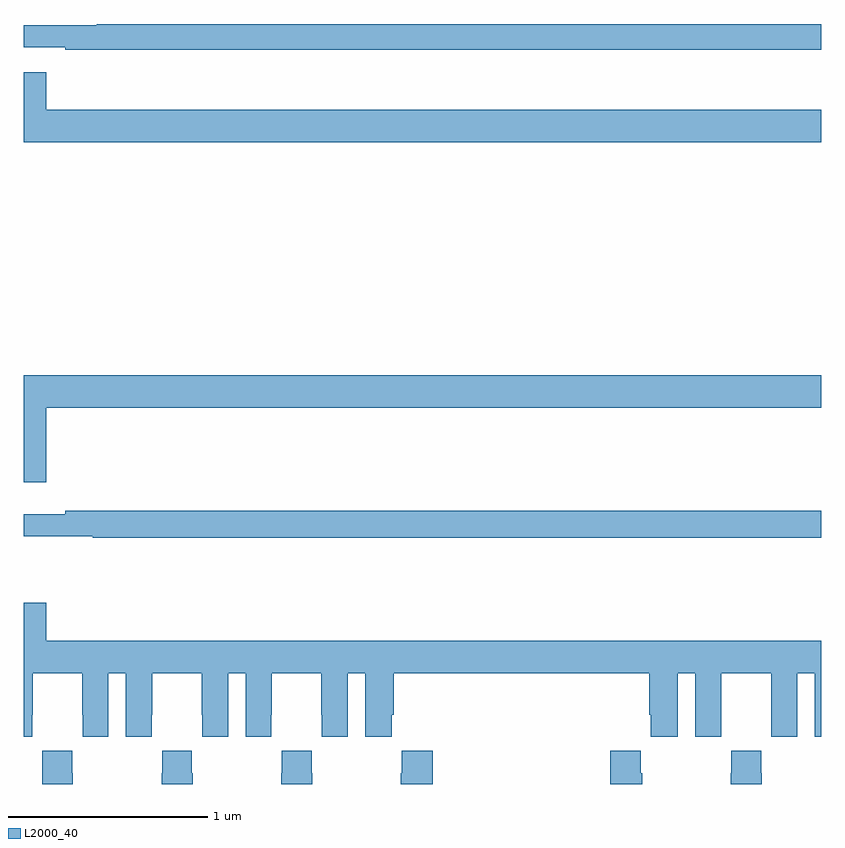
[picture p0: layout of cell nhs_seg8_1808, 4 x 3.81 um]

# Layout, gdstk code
import gdstk
lib = gdstk.Library(unit=1e-6, precision=1e-09)
def P(c, l, *ps):  # polygons
    for p in ps: c.add(gdstk.Polygon(p, *l))
L2000_40 = (2000, 40)

nhs_seg8_1808 = lib.new_cell('nhs_seg8_1808')
P(nhs_seg8_1808, L2000_40, [(229,1163.714),(225.365,1163.714),(225.365,1163.707),(225,1163.707),(225,1163.598),(225.208,1163.598),(225.208,1163.586),(229,1163.586)],
  [(229,1163.284),(225.112,1163.284),(225.112,1163.473),(225,1163.473),(225,1163.12),(229,1163.12)],
  [(225.112,1161.788),(229,1161.788),(229,1161.952),(225,1161.952),(225,1161.414),(225.112,1161.414)],
  [(229,1161.272),(225.208,1161.272),(225.208,1161.253),(225,1161.253),(225,1161.144),(225.345,1161.144),(225.345,1161.136),(229,1161.136)],
  [(225,1160.136),(225.042,1160.136),(225.042,1160.248),(225.043,1160.248),(225.043,1160.456),(225.293,1160.456),(225.293,1160.248),(225.294,1160.248),(225.294,1160.136),(225.424,1160.136),(225.424,1160.456),(225.512,1160.456),(225.512,1160.136),(225.642,1160.136),(225.642,1160.248),(225.643,1160.248),(225.643,1160.456),(225.893,1160.456),(225.893,1160.248),(225.894,1160.248),(225.894,1160.136),(226.024,1160.136),(226.024,1160.456),(226.112,1160.456),(226.112,1160.136),(226.242,1160.136),(226.242,1160.248),(226.243,1160.248),(226.243,1160.456),(226.493,1160.456),(226.493,1160.248),(226.494,1160.248),(226.494,1160.136),(226.624,1160.136),(226.624,1160.456),(226.712,1160.456),(226.712,1160.136),(226.846,1160.136),(226.846,1160.248),(226.856,1160.248),(226.856,1160.456),(228.137,1160.456),(228.137,1160.248),(228.146,1160.248),(228.146,1160.136),(228.28,1160.136),(228.28,1160.456),(228.368,1160.456),(228.368,1160.136),(228.498,1160.136),(228.498,1160.248),(228.499,1160.248),(228.499,1160.456),(228.749,1160.456),(228.749,1160.248),(228.75,1160.248),(228.75,1160.136),(228.88,1160.136),(228.88,1160.456),(228.968,1160.456),(228.968,1160.136),(229,1160.136),(229,1160.62),(225.112,1160.62),(225.112,1160.809),(225,1160.809)],
  [(227.051,1160.068),(226.897,1160.068),(226.897,1159.955),(226.891,1159.955),(226.891,1159.9),(227.051,1159.9)],
  [(226.446,1159.955),(226.443,1159.955),(226.443,1160.068),(226.293,1160.068),(226.293,1159.955),(226.291,1159.955),(226.291,1159.9),(226.446,1159.9)],
  [(225.846,1159.955),(225.843,1159.955),(225.843,1160.068),(225.693,1160.068),(225.693,1159.955),(225.691,1159.955),(225.691,1159.9),(225.846,1159.9)],
  [(225.246,1159.955),(225.243,1159.955),(225.243,1160.068),(225.093,1160.068),(225.093,1159.955),(225.091,1159.955),(225.091,1159.9),(225.246,1159.9)],
  [(228.102,1159.955),(228.095,1159.955),(228.095,1160.068),(227.942,1160.068),(227.942,1159.9),(228.102,1159.9)],
  [(228.702,1159.955),(228.699,1159.955),(228.699,1160.068),(228.549,1160.068),(228.549,1159.955),(228.547,1159.955),(228.547,1159.9),(228.702,1159.9)])

lib.write_gds('nhs_seg8_1808.gds')
